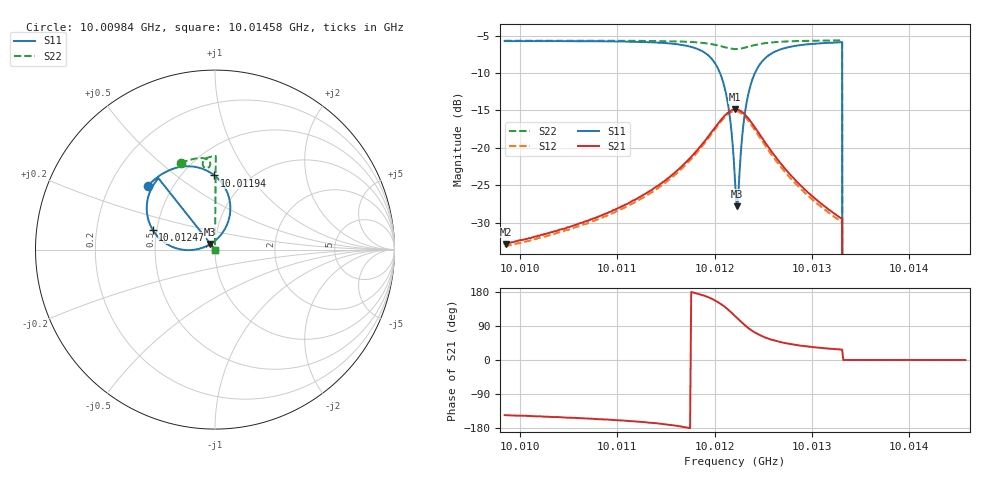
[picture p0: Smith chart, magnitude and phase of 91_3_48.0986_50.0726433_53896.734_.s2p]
#  HZ  S  RI  R  50.00
! Rohde & Schwarz Vector Network Analyzer
! Rohde-Schwarz,ZNB20-2Port,1311601062101988,3.16
! Created: UTC 12/23/2023, 3:43:46 AM
! freq[Hz]  re:S11  im:S11  re:S21  im:S21  re:S12  im:S12  re:S22  im:S22
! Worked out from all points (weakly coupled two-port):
!   401 points, 10.00984 GHz to 10.01458 GHz, reference 50 ohm
!   highest |S21| = -14.87 dB at 10.01221 GHz (marker M1); lowest = -32.8 dB at 10.00985 GHz (marker M2)
!   lowest |S11| = -27.8 dB at 10.01223 GHz (marker M3), VSWR 1.08, Z = 47.3 + j2.93 ohm
!   |S11| at or under -10 dB: 10.01206 GHz to 10.01242 GHz (359.8 kHz wide, 0.00359 % of centre); 10.01331 GHz to end of sweep
!   |S22| runs from - to -5.7 dB; largest |S21 - S12| = 0.0087
!   S11 on the Smith chart (normalised r, x): 10.00984 GHz: 0.36, +0.35; 10.01194 GHz: 0.71, +0.70; 10.01247 GHz: 0.47, +0.12; 10.01458 GHz: 1.00, +0.00
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1.0009843e10  -0.3737 0.3556  -0.0189 -0.013  -0.0175 -0.0135  -0.1912 0.4821
1.0009855e10  -0.373 0.3564  -0.0189 -0.0128  -0.0175 -0.0134  -0.1904 0.4823
1.0010636e10  -0.3182 0.4053  -0.0284 -0.0139  -0.0267 -0.0147  -0.1404 0.4998
1.0011429e10  -0.2127 0.4566  -0.0552 -0.0121  -0.0525 -0.0145  -0.0825 0.51
1.001176e10  -0.1062 0.4601  -0.087 0.000889  -0.0841 -0.00339  -0.0521 0.5065
1.0011937e10  -0.00296 0.4129  -0.1158 0.03  -0.1139 0.0232  -0.0337 0.4951
1.0012044e10  0.0667 0.3223  -0.1292 0.0714  -0.1297 0.0627  -0.0263 0.4804
1.0012115e10  0.0853 0.2181  -0.1245 0.111  -0.1259 0.1039  -0.0281 0.467
1.0012162e10  0.0654 0.1353  -0.1074 0.1398  -0.1104 0.1324  -0.034 0.459
1.001221e10  0.0115 0.0594  -0.079 0.1623  -0.0826 0.1555  -0.0438 0.4547
1.0012233e10  -0.0263 0.0309  -0.062 0.1689  -0.0656 0.1626  -0.049 0.4546
1.0012245e10  -0.0473 0.0195  -0.0534 0.171  -0.0571 0.1646  -0.0517 0.455
1.0012292e10  -0.1366 -0.00288  -0.018 0.1704  -0.0226 0.1646  -0.061 0.4595
1.0012328e10  -0.1994 0.00294  0.00538 0.1622  0.000299 0.157  -0.0656 0.4653
1.0012387e10  -0.2818 0.0398  0.033 0.1412  0.0268 0.137  -0.0689 0.476
1.001247e10  -0.3474 0.1107  0.051 0.1098  0.0454 0.1064  -0.0665 0.4895
1.0012695e10  -0.3788 0.2577  0.0528 0.0552  0.048 0.0546  -0.0467 0.5092
1.0013002e10  -0.3483 0.3509  0.0394 0.0268  0.0361 0.0272  -0.0197 0.5183
1.0013286e10  -0.3174 0.3945  0.0303 0.016  0.028 0.0166  0.00253 0.521
1.0013346e10  0 0  0 0  0 0  0 0
1.0013795e10  0 0  0 0  0 0  0 0
1.0014576e10  0 0  0 0  0 0  0 0
